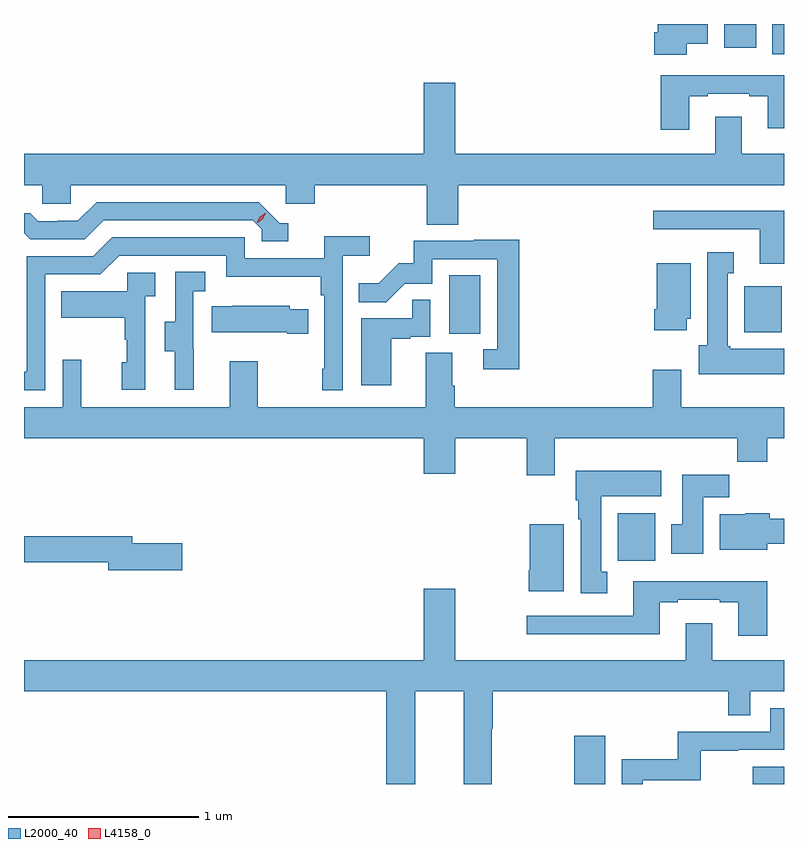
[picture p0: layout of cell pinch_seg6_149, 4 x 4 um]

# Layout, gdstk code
import gdstk
lib = gdstk.Library(unit=1e-6, precision=1e-09)
def R(c, l, rs):  # rectangles x0, y0, x1, y1
    for r in rs: c.add(gdstk.rectangle(r[:2], r[2:], *l))
def P(c, l, *ps):  # polygons
    for p in ps: c.add(gdstk.Polygon(p, *l))
L2000_40 = (2000, 40)
L4158_0 = (4158, 0)

pinch_seg6_149 = lib.new_cell('pinch_seg6_149')
R(pinch_seg6_149, L2000_40, [(957.008,916.212,957.169,916.465), (957.946,916.212,958.111,916.302), (957.237,917.388,957.433,917.638), (956.348,918.582,956.512,918.889), (957.902,918.59,958.099,918.832), (958.049,920.052,958.111,920.212), (957.797,920.088,957.964,920.212)])
P(pinch_seg6_149, L2000_40, [(957.598,920.108),(957.709,920.108),(957.709,920.212),(957.446,920.212),(957.446,920.169),(957.428,920.169),(957.428,920.051),(957.598,920.051)],
  [(957.613,919.833),(957.709,919.833),(957.709,919.845),(957.929,919.845),(957.929,919.833),(958.025,919.833),(958.025,919.664),(958.111,919.664),(958.111,919.942),(957.461,919.942),(957.461,919.656),(957.613,919.656)],
  [(956.396,919.364),(958.111,919.364),(958.111,919.528),(957.889,919.528),(957.889,919.723),(957.749,919.723),(957.749,919.528),(956.38,919.528),(956.38,919.903),(956.216,919.903),(956.216,919.528),(954.111,919.528),(954.111,919.364),(954.207,919.364),(954.207,919.266),(954.357,919.266),(954.357,919.364),(955.488,919.364),(955.488,919.266),(955.64,919.266),(955.64,919.364),(956.231,919.364),(956.231,919.156),(956.396,919.156)],
  [(955.501,919.164),(955.458,919.164),(955.347,919.275),(954.494,919.275),(954.395,919.176),(954.288,919.176),(954.288,919.173),(954.185,919.173),(954.143,919.216),(954.111,919.216),(954.111,919.112),(954.143,919.08),(954.432,919.08),(954.531,919.179),(955.314,919.179),(955.362,919.131),(955.362,919.068),(955.501,919.068)],
  [(958.111,919.228),(957.423,919.228),(957.423,919.131),(957.983,919.131),(957.983,918.95),(958.111,918.95)],
  [(954.222,918.894),(954.513,918.894),(954.612,918.993),(955.176,918.993),(955.176,918.881),(955.672,918.881),(955.672,918.785),(955.692,918.785),(955.692,918.397),(955.68,918.397),(955.68,918.285),(955.788,918.285),(955.788,918.992),(955.93,918.992),(955.93,919.094),(955.691,919.094),(955.691,918.978),(955.272,918.978),(955.272,919.089),(954.575,919.089),(954.476,918.99),(954.126,918.99),(954.126,918.381),(954.111,918.381),(954.111,918.285),(954.222,918.285)],
  [(956.717,919.076),(956.479,919.076),(956.479,919.071),(956.161,919.071),(956.161,918.954),(956.084,918.954),(955.977,918.847),(955.873,918.847),(955.873,918.748),(956.017,918.748),(956.115,918.846),(956.259,918.846),(956.259,918.975),(956.601,918.975),(956.601,918.501),(956.529,918.501),(956.529,918.396),(956.717,918.396)],
  [(958.111,918.502),(957.828,918.502),(957.828,918.516),(957.814,918.516),(957.814,918.899),(957.847,918.899),(957.847,919.012),(957.707,919.012),(957.707,918.522),(957.662,918.522),(957.662,918.368),(958.111,918.368)],
  [(957.598,918.66),(957.619,918.66),(957.619,918.952),(957.44,918.952),(957.44,918.712),(957.428,918.712),(957.428,918.6),(957.598,918.6)],
  [(955.004,918.501),(955.002,918.501),(955.002,918.805),(955.066,918.805),(955.066,918.908),(954.906,918.908),(954.906,918.645),(954.851,918.645),(954.851,918.49),(954.905,918.49),(954.905,918.288),(955.004,918.288)],
  [(954.75,918.779),(954.802,918.779),(954.802,918.903),(954.654,918.903),(954.654,918.805),(954.307,918.805),(954.307,918.665),(954.642,918.665),(954.642,918.551),(954.652,918.551),(954.652,918.432),(954.626,918.432),(954.626,918.288),(954.75,918.288)],
  [(956.044,918.555),(956.144,918.555),(956.144,918.567),(956.25,918.567),(956.25,918.761),(956.155,918.761),(956.155,918.663),(955.886,918.663),(955.886,918.312),(956.044,918.312)],
  [(955.607,918.712),(955.509,918.712),(955.509,918.73),(955.207,918.73),(955.207,918.727),(955.099,918.727),(955.099,918.59),(955.496,918.59),(955.496,918.583),(955.607,918.583)],
  [(956.905,918.032),(957.865,918.032),(957.865,917.908),(958.022,917.908),(958.022,918.032),(958.111,918.032),(958.111,918.196),(957.571,918.196),(957.571,918.391),(957.419,918.391),(957.419,918.196),(956.378,918.196),(956.378,918.308),(956.365,918.308),(956.365,918.482),(956.225,918.482),(956.225,918.196),(955.341,918.196),(955.341,918.436),(955.193,918.436),(955.193,918.196),(954.413,918.196),(954.413,918.445),(954.315,918.445),(954.315,918.196),(954.111,918.196),(954.111,918.032),(956.216,918.032),(956.216,917.844),(956.38,917.844),(956.38,918.032),(956.758,918.032),(956.758,917.838),(956.905,917.838)],
  [(957.181,917.329),(957.148,917.329),(957.148,917.726),(957.466,917.726),(957.466,917.86),(957.014,917.86),(957.014,917.706),(957.028,917.706),(957.028,917.606),(957.041,917.606),(957.041,917.217),(957.181,917.217)],
  [(957.685,917.72),(957.824,917.72),(957.824,917.839),(957.575,917.839),(957.575,917.58),(957.518,917.58),(957.518,917.424),(957.685,917.424)],
  [(958.024,917.477),(958.111,917.477),(958.111,917.607),(958.037,917.607),(958.037,917.638),(957.906,917.638),(957.906,917.632),(957.773,917.632),(957.773,917.444),(958.024,917.444)],
  [(956.953,917.578),(956.774,917.578),(956.774,917.338),(956.767,917.338),(956.767,917.226),(956.953,917.226)],
  [(954.943,917.48),(954.682,917.48),(954.682,917.516),(954.111,917.516),(954.111,917.38),(954.554,917.38),(954.554,917.338),(954.943,917.338)],
  [(958.022,917.278),(957.317,917.278),(957.317,917.097),(956.757,917.097),(956.757,917),(957.457,917),(957.457,917.169),(957.553,917.169),(957.553,917.181),(957.773,917.181),(957.773,917.169),(957.869,917.169),(957.869,916.992),(958.022,916.992)],
  [(956.17,916.7),(956.426,916.7),(956.426,916.212),(956.574,916.212),(956.574,916.504),(956.579,916.504),(956.579,916.7),(957.817,916.7),(957.817,916.573),(957.933,916.573),(957.933,916.7),(958.111,916.7),(958.111,916.864),(957.733,916.864),(957.733,917.059),(957.593,917.059),(957.593,916.864),(956.38,916.864),(956.38,917.239),(956.216,917.239),(956.216,916.864),(954.111,916.864),(954.111,916.7),(956.018,916.7),(956.018,916.212),(956.17,916.212)],
  [(957.368,916.232),(957.673,916.232),(957.673,916.387),(957.869,916.387),(957.869,916.392),(958.111,916.392),(958.111,916.611),(958.038,916.611),(958.038,916.488),(957.552,916.488),(957.552,916.342),(957.258,916.342),(957.258,916.212),(957.368,916.212)])
P(pinch_seg6_149, L4158_0, [(955.337,919.166),(955.337,919.166),(955.353,919.198),(955.384,919.218),(955.384,919.218),(955.384,919.218),(955.368,919.185),(955.338,919.166)])

lib.write_gds('pinch_seg6_149.gds')
